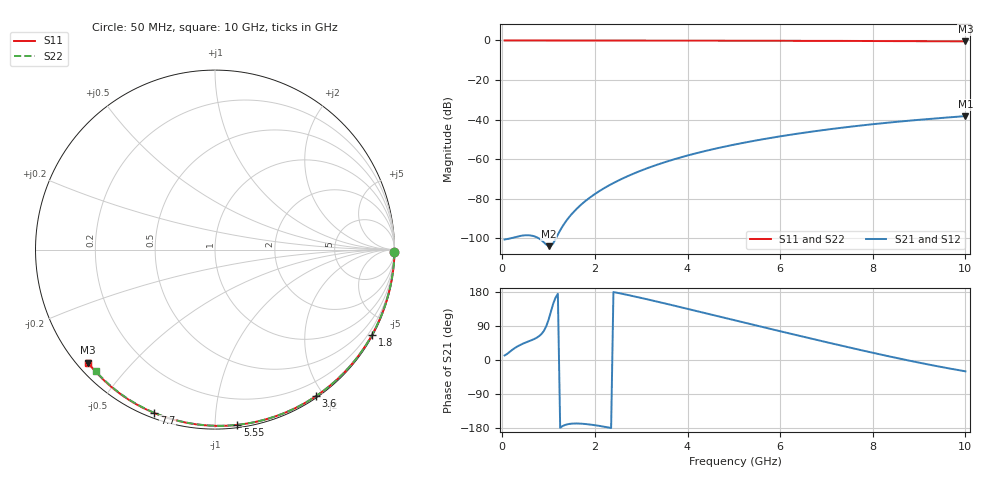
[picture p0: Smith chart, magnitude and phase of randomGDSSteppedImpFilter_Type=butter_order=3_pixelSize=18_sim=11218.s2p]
! freq	dB(S11)	phase(S11)	dB(S12)	phase(S12)
!  dB(S21)	phase(S21)	dB(S22)	phase(S22)
!S-par simulation data
#  GHz  S  DB  R 50
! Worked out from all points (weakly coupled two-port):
!   200 points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, 50 MHz to 10 GHz, reference 50 ohm
!   highest |S21| = -38.25 dB at 10 GHz (marker M1); lowest = -104.0 dB at 1 GHz (marker M2)
!   lowest |S11| = -0.5 dB at 10 GHz (marker M3), VSWR 36.94, Z = 1.55 - j19 ohm
!   |S11| at or under -10 dB: nowhere
!   |S22| runs from -0.5 to 0.0 dB; largest |S21 - S12| = 0
!   S11 on the Smith chart (normalised r, x): 50 MHz: open; 1.8 GHz: 0.03, -3.95; 3.6 GHz: 0.02, -1.90; 5.55 GHz: 0.02, -1.14; 7.7 GHz: 0.02, -0.69; 10 GHz: 0.03, -0.38
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0.05  -0.00 -0.8  -100.63 12.0  -100.63 12.0  -0.00 -0.8
0.5  -0.01 -8.0  -98.49 45.9  -98.49 45.9  -0.01 -7.7
1  -0.02 -15.9  -104.00 106.5  -104.00 106.5  -0.02 -15.3
1.75  -0.04 -27.6  -82.04 -168.4  -82.04 -168.4  -0.03 -26.6
1.8  -0.04 -28.4  -81.07 -169.0  -81.07 -169.0  -0.03 -27.3
1.85  -0.04 -29.2  -80.16 -169.6  -80.16 -169.6  -0.04 -28.1
2.2  -0.04 -34.5  -74.68 -176.0  -74.68 -176.0  -0.04 -33.3
2.35  -0.05 -36.8  -72.69 -179.4  -72.69 -179.4  -0.04 -35.5
2.55  -0.05 -39.9  -70.31 175.7  -70.31 175.7  -0.05 -38.4
2.95  -0.06 -45.9  -66.21 165.2  -66.21 165.2  -0.06 -44.2
3.4  -0.07 -52.5  -62.37 152.5  -62.37 152.5  -0.07 -50.6
3.6  -0.07 -55.5  -60.87 146.7  -60.87 146.7  -0.07 -53.4
3.9  -0.08 -59.8  -58.81 137.9  -58.81 137.9  -0.08 -57.6
4.3  -0.09 -65.5  -56.36 126.1  -56.36 126.1  -0.09 -63.2
5.05  -0.12 -75.9  -52.46 103.8  -52.46 103.8  -0.11 -73.3
5.55  -0.14 -82.7  -50.26 89.1  -50.26 89.1  -0.13 -79.8
6.1  -0.16 -90.0  -48.11 73.0  -48.11 73.0  -0.15 -86.9
6.7  -0.19 -97.8  -46.03 55.6  -46.03 55.6  -0.18 -94.5
7.7  -0.25 -110.4  -43.10 27.3  -43.10 27.3  -0.24 -106.8
8.35  -0.30 -118.4  -41.51 9.7  -41.51 9.7  -0.29 -114.6
9.2  -0.38 -128.7  -39.72 -11.9  -39.72 -11.9  -0.37 -124.8
10  -0.47 -138.4  -38.25 -29.9  -38.25 -29.9  -0.46 -134.5
